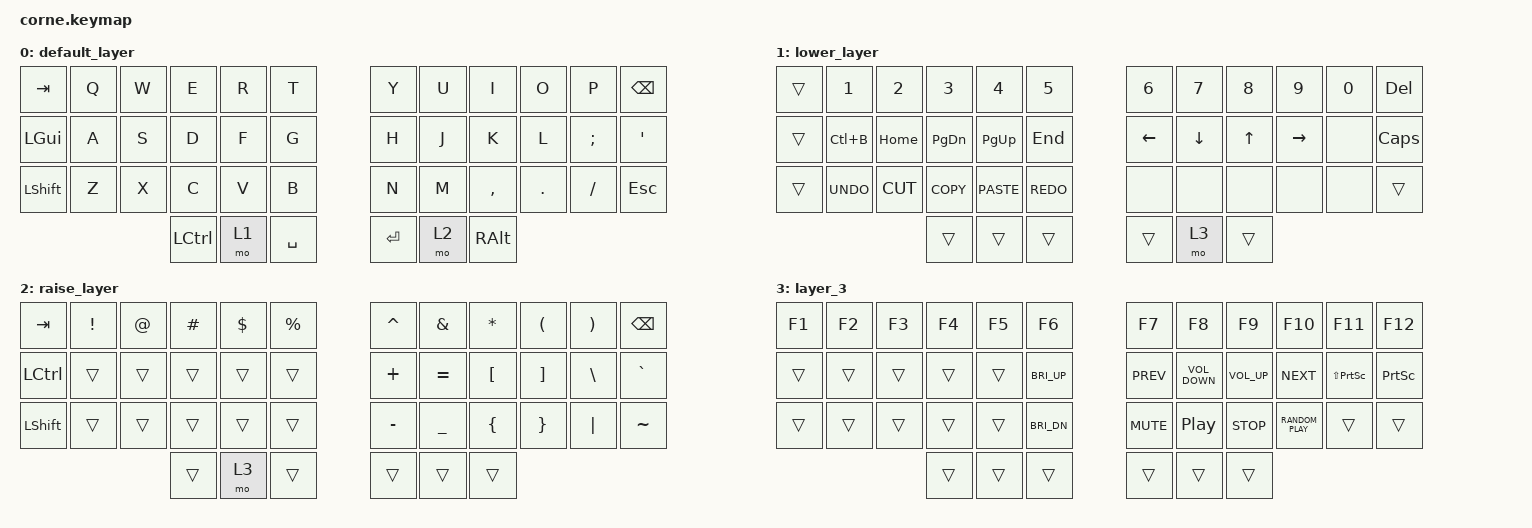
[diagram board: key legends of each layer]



/*
 * Copyright (c) 2020 The ZMK Contributors
 *
 * SPDX-License-Identifier: MIT
 */

#include <behaviors.dtsi>
#include <dt-bindings/zmk/keys.h>

/ {
    keymap {
        compatible = "zmk,keymap";

        default_layer {
            // -----------------------------------------------------------------------------------------
            // |  TAB |  Q  |  W  |  E  |  R  |  T  |   |  Y  |  U   |  I  |  O  |  P  | BSPC |
            // | CTRL |  A  |  S  |  D  |  F  |  G  |   |  H  |  J   |  K  |  L  |  ;  |  '   |
            // | SHFT |  Z  |  X  |  C  |  V  |  B  |   |  N  |  M   |  ,  |  .  |  /  | ESC  |
            //                    | GUI | LWR | SPC |   | ENT | RSE  | ALT |

            bindings = <
&kp TAB       &kp Q  &kp W  &kp E             &kp R  &kp T        &kp Y    &kp U  &kp I      &kp O    &kp P     &kp BSPC
&kp LEFT_GUI  &kp A  &kp S  &kp D             &kp F  &kp G        &kp H    &kp J  &kp K      &kp L    &kp SEMI  &kp SQT
&kp LSHFT     &kp Z  &kp X  &kp C             &kp V  &kp B        &kp N    &kp M  &kp COMMA  &kp DOT  &kp FSLH  &kp ESC
                            &kp LEFT_CONTROL  &mo 1  &kp SPACE    &kp RET  &mo 2  &kp RALT
            >;
        };

        lower_layer {
            // -----------------------------------------------------------------------------------------
            // |  TAB |  1  |  2  |  3  |  4  |  5  |   |  6  |  7  |  8  |  9  |  0  |    DEL   |
            // | BTCLR| BT1 | BT2 | BT3 | BT4 | BT5 |   | LFT | DWN |  UP | RGT |     | CapsLock |
            // | SHFT |     |     |     |     |     |   |     |     |     |     |     |          |
            //                    | GUI |     | SPC |   | ENT |     | ALT |

            bindings = <
&trans  &kp N1      &kp N2     &kp N3      &kp N4       &kp N5        &kp N6    &kp N7    &kp N8  &kp N9     &kp N0  &kp DEL
&trans  &kp LC(B)   &kp HOME   &kp PG_DN   &kp PG_UP    &kp END       &kp LEFT  &kp DOWN  &kp UP  &kp RIGHT  &none   &kp CAPSLOCK
&trans  &kp K_UNDO  &kp K_CUT  &kp K_COPY  &kp K_PASTE  &kp K_REDO    &none     &none     &none   &none      &none   &trans
                               &trans      &trans       &trans        &trans    &mo 3     &trans
            >;
        };

        raise_layer {
            // -----------------------------------------------------------------------------------------
            // |  TAB |  !  |  @  |  #  |  $  |  %  |   |  ^  |  &  |  *  |  (  |  )  | DEL |
            // | CTRL |     |     |     |     |     |   |  -  |  =  |  [  |  ]  |  \  |  `   |
            // | SHFT |     |     |     |     |     |   |  _  |  +  |  {  |  }  | "|" |  ~   |
            //                    | GUI |     | SPC |   | ENT |     | ALT |

            bindings = <
&kp TAB    &kp EXCL  &kp AT  &kp HASH  &kp DLLR  &kp PRCNT    &kp CARET  &kp AMPS   &kp ASTRK  &kp LPAR  &kp RPAR  &kp BSPC
&kp LCTRL  &trans    &trans  &trans    &trans    &trans       &kp PLUS   &kp EQUAL  &kp LBKT   &kp RBKT  &kp BSLH  &kp GRAVE
&kp LSHFT  &trans    &trans  &trans    &trans    &trans       &kp MINUS  &kp UNDER  &kp LBRC   &kp RBRC  &kp PIPE  &kp TILDE
                             &trans    &mo 3     &trans       &trans     &trans     &trans
            >;
        };

        layer_3 {
            bindings = <
&kp F1  &kp F2  &kp F3  &kp F4  &kp F5  &kp F6          &kp F7      &kp F8             &kp F9           &kp F10     &kp F11            &kp F12
&trans  &trans  &trans  &trans  &trans  &kp C_BRI_UP    &kp C_PREV  &kp C_VOLUME_DOWN   &kp C_VOLUME_UP       &kp C_NEXT  &kp LS(PRINTSCREEN)  &kp PRINTSCREEN
&trans  &trans  &trans  &trans  &trans  &kp C_BRI_DN    &kp K_MUTE  &kp C_PLAY_PAUSE   &kp C_STOP   &kp  C_RANDOM_PLAY     &trans             &trans
                        &trans  &trans  &trans          &trans      &trans             &trans
            >;
        };
    };
};



